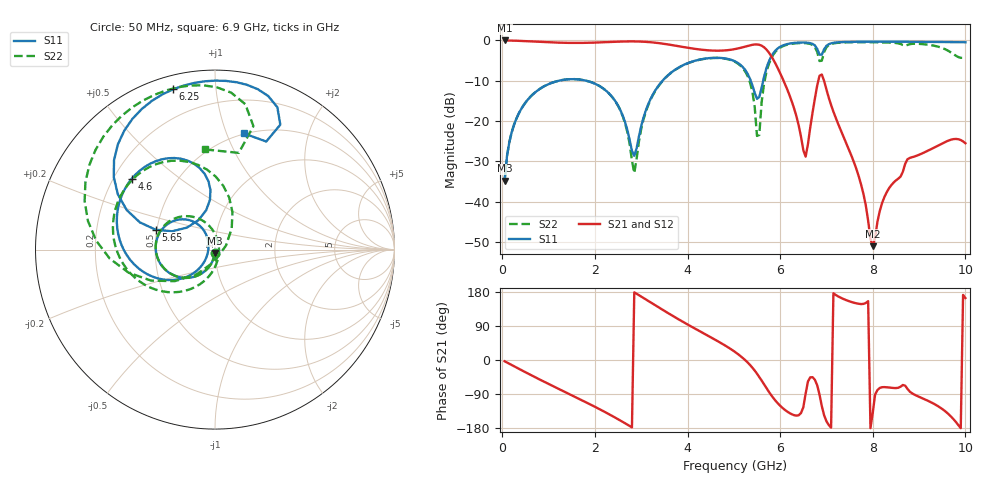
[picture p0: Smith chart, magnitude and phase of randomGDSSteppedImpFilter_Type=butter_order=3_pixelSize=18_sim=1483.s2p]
! freq	dB(S11)	phase(S11)	dB(S12)	phase(S12)
!  dB(S21)	phase(S21)	dB(S22)	phase(S22)
!S-par simulation data
#  GHz  S  DB  R 50
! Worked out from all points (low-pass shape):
!   200 points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, 50 MHz to 10 GHz, reference 50 ohm
!   highest |S21| = -0.01 dB at 50 MHz (marker M1); lowest = -51.1 dB at 8 GHz (marker M2)
!   |S21| within 3 dB of the highest: start of sweep to 5.756 GHz
!   lowest |S11| = -34.8 dB at 50 MHz (marker M3), VSWR 1.04, Z = 49.9 - j1.82 ohm
!   |S11| at or under -10 dB: start of sweep to 1.222 GHz; 1.81 GHz to 3.46 GHz (1.65 GHz wide, 62.6 % of centre); 5.364 GHz to 5.633 GHz (269.3 MHz wide, 4.9 % of centre)
!   |S22| runs from -34.8 to -0.4 dB; largest |S21 - S12| = 0
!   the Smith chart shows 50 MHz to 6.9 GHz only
!   S11 on the Smith chart (normalised r, x): 50 MHz: 1.00, -0.04; 4.6 GHz: 0.27, +0.34; 5.65 GHz: 0.49, +0.12; 6.25 GHz: 0.06, +0.77; 6.9 GHz: 0.49, +1.15
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0.05  -34.79 -92.9  -0.01 -3.3  -0.01 -3.3  -34.78 -92.9
0.5  -15.44 -122.7  -0.17 -32.3  -0.17 -32.3  -15.43 -122.8
1.75  -9.85 162.7  -0.61 -108.0  -0.61 -108.0  -9.84 160.7
2.5  -16.18 122.4  -0.31 -156.3  -0.31 -156.3  -16.24 108.0
2.85  -28.63 177.9  -0.25 178.6  -0.25 178.6  -32.92 -1.1
3.4  -10.83 -143.9  -0.70 137.1  -0.70 137.1  -10.92 -126.1
4.6  -4.31 139.6  -2.54 53.3  -2.54 53.3  -4.35 147.1
5.05  -5.34 110.6  -2.09 19.1  -2.09 19.1  -5.48 111.5
5.35  -9.56 94.4  -1.21 -13.2  -1.21 -13.2  -10.45 74.7
5.5  -14.50 119.3  -1.00 -36.1  -1.00 -36.1  -23.71 20.3
5.65  -9.15 161.5  -1.67 -63.7  -1.67 -63.7  -10.92 -141.8
5.9  -2.48 138.5  -5.78 -107.5  -5.78 -107.5  -2.78 167.2
6.25  -0.69 104.6  -15.11 -143.1  -15.11 -143.1  -0.83 124.7
6.55  -0.54 82.7  -28.85 -88.8  -28.85 -88.8  -0.68 98.6
6.7  -0.86 70.9  -17.89 -45.4  -17.89 -45.4  -1.12 84.1
6.9  -3.52 76.1  -8.46 -122.0  -8.46 -122.0  -5.02 95.8
7.2  -0.52 61.2  -19.20 171.7  -19.20 171.7  -0.64 76.0
8  -0.32 25.5  -51.07 -139.2  -51.07 -139.2  -0.45 30.9
8.35  -0.32 12.4  -36.72 -72.5  -36.72 -72.5  -0.53 12.1
9.05  -0.35 -11.6  -28.13 -99.8  -28.13 -99.8  -0.89 -29.0
9.55  -0.40 -27.4  -25.28 -133.9  -25.28 -133.9  -2.11 -86.0
10  -0.46 -40.6  -25.53 163.5  -25.53 163.5  -4.11 135.4
